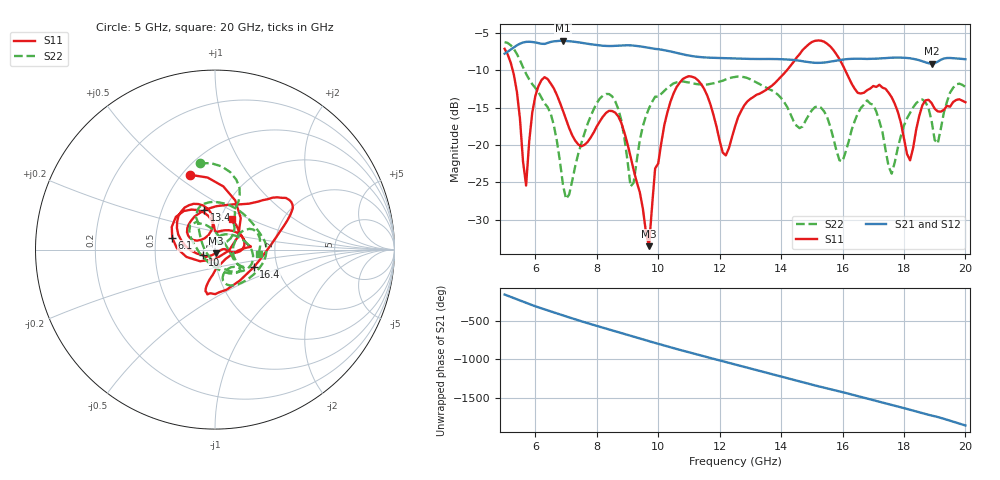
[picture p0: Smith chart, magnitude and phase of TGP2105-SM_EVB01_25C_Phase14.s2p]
! Date: Wednesday, June 05, 2013  1:50 PM
! Filename: C:\Data\Mike_Arnold\TGP2105-SM\Over_Temp\TGP2105-SM_EVB01_25C_Phase14.s2p
! Comments:
!^VDC(V):5.000
!^VDC(mA):0.127
!%Freq(GHz),S11(dB),S11(ang),S21(dB),S21(ang),S12(dB),S12(ang),S22(dB),S22(ang)
# GHz  S  DB  R  50
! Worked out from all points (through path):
!   151 points, 5 GHz to 20 GHz, reference 50 ohm
!   highest |S21| = -6.05 dB at 6.9 GHz (marker M1); lowest = -9.1 dB at 18.9 GHz (marker M2)
!   lowest |S11| = -33.5 dB at 9.7 GHz (marker M3), VSWR 1.04, Z = 50.6 - j2.03 ohm
!   |S11| at or under -10 dB: 5.264 GHz to 14.19 GHz (8.925 GHz wide, 91.8 % of centre); 16.09 GHz to end of sweep
!   |S22| runs from -27.2 to -6.2 dB; largest |S21 - S12| = 0.002
!   S11 on the Smith chart (normalised r, x): 5 GHz: 0.55, +0.56; 6.1 GHz: 0.61, +0.09; 10 GHz: 0.87, -0.05; 13.4 GHz: 0.81, +0.37; 16.4 GHz: 1.51, -0.31; 20 GHz: 1.13, +0.40
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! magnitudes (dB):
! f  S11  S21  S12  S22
! 5 GHz  -7.1  -7.8  -7.8  -6.2
! 5.4 GHz  -12.9  -6.7  -6.7  -7.8
! 5.7 GHz  -25.4  -6.2  -6.2  -10.5
! 6.1 GHz  -12.1  -6.4  -6.4  -12.9
! 6.9 GHz  -15.4  -6.1  -6.1  -25.4
! 7.5 GHz  -20.2  -6.3  -6.3  -19.7
! 8.7 GHz  -16.2  -6.7  -6.7  -15.2
! 9.1 GHz  -21.5  -6.7  -6.7  -25.6
! 9.7 GHz  -33.5  -7.0  -7.0  -15.1
! 10 GHz  -22.5  -7.2  -7.2  -13.5
! 10.9 GHz  -10.9  -7.9  -8.0  -11.6
! 12.1 GHz  -21.0  -8.4  -8.4  -11.4
! 12.5 GHz  -17.6  -8.4  -8.4  -10.9
! 13.4 GHz  -12.9  -8.5  -8.5  -12.1
! 15 GHz  -6.2  -9.0  -9.0  -15.4
! 16 GHz  -9.2  -8.6  -8.6  -22.2
! 16.4 GHz  -12.5  -8.5  -8.5  -16.8
! 17 GHz  -12.1  -8.5  -8.5  -14.6
! 17.5 GHz  -13.0  -8.3  -8.4  -22.9
! 18.2 GHz  -22.1  -8.4  -8.4  -15.7
! 18.9 GHz  -14.4  -9.1  -9.2  -16.8
! 20 GHz  -14.3  -8.5  -8.6  -12.2
